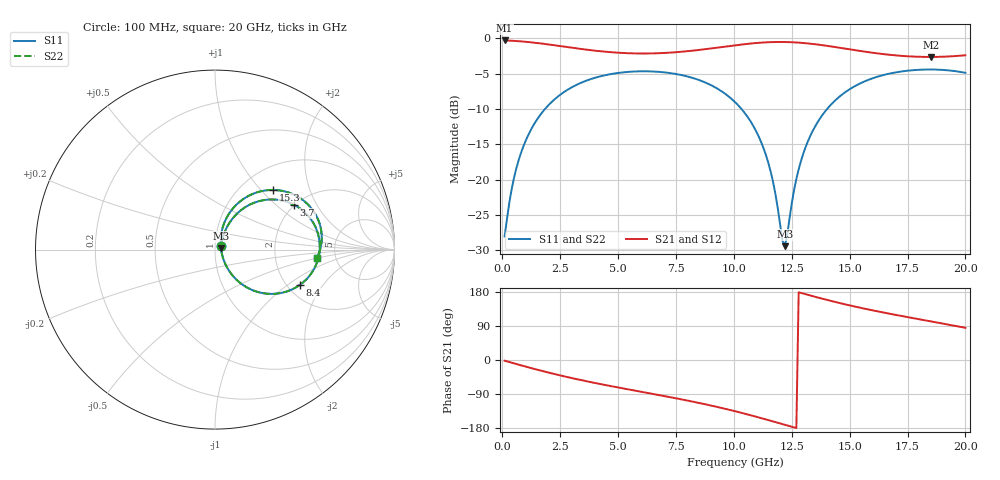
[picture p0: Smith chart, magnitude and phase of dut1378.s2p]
! Touchstone file exported from HFSS 2026.1.0
!  File:  C:/ffzhzh/LocalFiles/Ansys_Project_Files/temp_train_TSV_RDL_1378_1783347657_50076.aedt
!  Generated:  10:36:55 PM Jul  6, 2026
!  Design:  TSV_RDL
!  Project:  temp_train_TSV_RDL_1378_1783347657_50076
! Variables:
!  h_bsmrdl = 2.75um
!  h_ox = 20um
!  h_rdl = 5um
!  h_sub = 56.14um
!  h_tmrdl = 3.67um
!  h_tsv = 56.14um
!  h_via = 3um
!  l_bsmrdl = 189.86um
!  l_sub = 4667.06um
!  l_tmrdl = 898.33um
!  m_sub = 200um
!  pitch = 42.69um
!  r_tsv = 13.03um
!  s_tmrdl = 10um
!  w_bsmrdl = 23.81um
!  w_sub = 500um
!  w_tmrdl = 10.91um
!  x_tsv_center1 = 903.785um
!  x_tsv_center2 = 1117.455um
!  x_tsv_center3 = 2026.695um
!  x_tsv_center4 = 2240.365um
!  x_tsv_center5 = 3149.605um
!  x_tsv_center6 = 3363.275um
# GHz S MA R 50.000000
! Terminal data exported
! Port[1] = TM_RDL1_1_T1
! Port[2] = TM_RDL5_1_T1
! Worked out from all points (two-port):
!   200 points, 100 MHz to 20 GHz, reference 50 ohm
!   highest |S21| = -0.31 dB at 100 MHz (marker M1); lowest = -2.6 dB at 18.5 GHz (marker M2)
!   |S21| within 3 dB of the highest: start of sweep to end of sweep
!   lowest |S11| = -29.4 dB at 12.2 GHz (marker M3), VSWR 1.07, Z = 53.4 + j0.773 ohm
!   |S11| at or under -10 dB: start of sweep to 1.847 GHz; 10.33 GHz to 14.03 GHz (3.701 GHz wide, 30.4 % of centre)
!   |S22| runs from -29.4 to -4.4 dB; largest |S21 - S12| = 1.7e-14
!   S11 on the Smith chart (normalised r, x): 100 MHz: 1.07, +0.04; 3.7 GHz: 1.98, +1.33; 8.4 GHz: 2.34, -1.24; 15.3 GHz: 1.39, +1.18; 20 GHz: 3.58, -0.49
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0.1  0.0396 28.0  0.9654 -1.8  0.9654 -1.8  0.0396 28.0
! Gamma 0 0 0 0
! Port Impedance 50 0 50 0
0.6  0.1191 61.4  0.9566 -10.5  0.9566 -10.5  0.1191 61.4
1.2  0.2195 59.5  0.9383 -20.6  0.9383 -20.6  0.2195 59.5
2.2  0.3629 47.9  0.8951 -36.3  0.8951 -36.3  0.3629 47.9
3.5  0.4921 31.9  0.8362 -54.3  0.8362 -54.3  0.4921 31.9
3.7  0.5064 29.5  0.8283 -56.8  0.8283 -56.8  0.5064 29.5
5.3  0.576 11.6  0.786 -75.9  0.786 -75.9  0.576 11.6
6.8  0.5781 -4.5  0.7847 -92.9  0.7847 -92.9  0.5782 -4.5
8.4  0.513 -22.4  0.8238 -112.1  0.8238 -112.1  0.5131 -22.4
10.1  0.3473 -43.6  0.8942 -135.9  0.8942 -135.9  0.3473 -43.6
10.8  0.246 -52.0  0.9208 -147.0  0.9208 -147.0  0.2461 -52.1
11.4  0.1468 -56.4  0.9364 -157.1  0.9364 -157.1  0.1468 -56.4
11.7  0.09522 -53.9  0.9406 -162.2  0.9406 -162.2  0.09523 -54.0
12.1  0.03702 -15.9  0.9419 -169.2  0.9419 -169.2  0.03698 -16.0
12.2  0.03381 12.3  0.9415 -170.9  0.9415 -170.9  0.03375 12.3
12.8  0.1183 70.4  0.932 178.7  0.932 178.7  0.1183 70.4
13.4  0.22 68.4  0.9124 168.6  0.9124 168.6  0.2199 68.4
14.2  0.34 59.2  0.876 155.8  0.876 155.8  0.34 59.2
15.3  0.4655 45.6  0.8209 140.0  0.8209 140.0  0.4654 45.6
16.7  0.5616 29.6  0.7651 122.4  0.7651 122.4  0.5615 29.6
18.5  0.6014 10.9  0.738 102.1  0.738 102.1  0.6014 10.9
20  0.5699 -4.6  0.7585 84.9  0.7585 84.9  0.5699 -4.6
